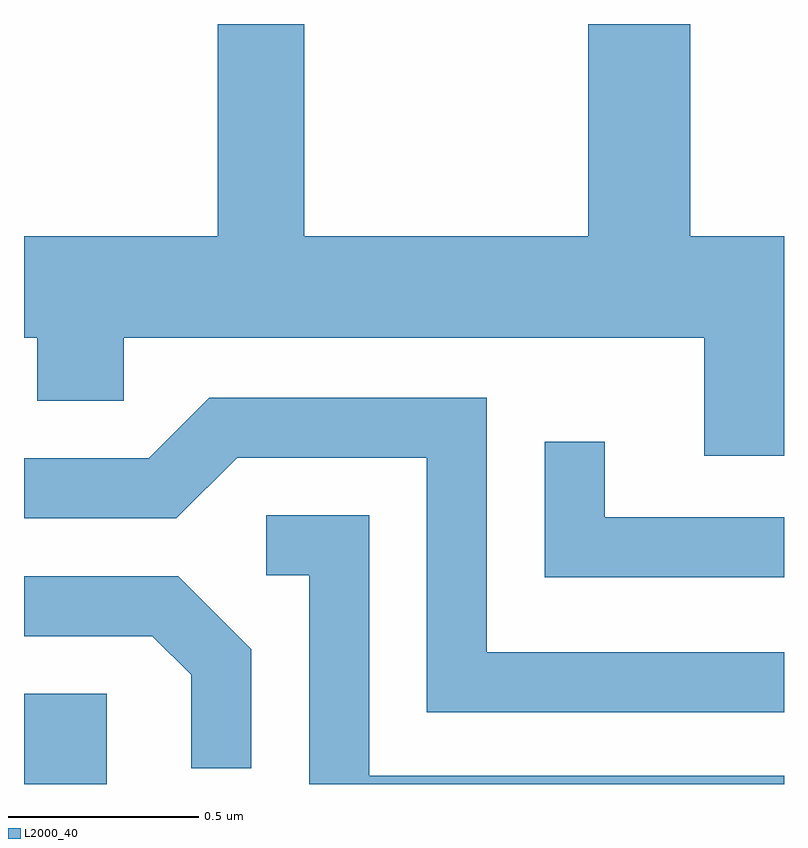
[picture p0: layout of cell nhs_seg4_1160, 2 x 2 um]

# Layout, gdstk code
import gdstk
lib = gdstk.Library(unit=1e-6, precision=1e-09)
def R(c, l, rs):  # rectangles x0, y0, x1, y1
    for r in rs: c.add(gdstk.rectangle(r[:2], r[2:], *l))
def P(c, l, *ps):  # polygons
    for p in ps: c.add(gdstk.Polygon(p, *l))
L2000_40 = (2000, 40)

nhs_seg4_1160 = lib.new_cell('nhs_seg4_1160')
R(nhs_seg4_1160, L2000_40, [(193.611,1317.982,193.829,1318.219)])
P(nhs_seg4_1160, L2000_40, [(195.611,1319.424),(195.364,1319.424),(195.364,1319.982),(195.096,1319.982),(195.096,1319.424),(194.349,1319.424),(194.349,1319.982),(194.121,1319.982),(194.121,1319.424),(193.611,1319.424),(193.611,1319.156),(193.646,1319.156),(193.646,1318.991),(193.874,1318.991),(193.874,1319.156),(195.401,1319.156),(195.401,1318.846),(195.611,1318.846)],
  [(195.611,1318.329),(194.829,1318.329),(194.829,1318.999),(194.099,1318.999),(193.939,1318.839),(193.611,1318.839),(193.611,1318.681),(194.012,1318.681),(194.172,1318.841),(194.671,1318.841),(194.671,1318.171),(195.611,1318.171)],
  [(195.611,1318.684),(195.139,1318.684),(195.139,1318.883),(194.981,1318.883),(194.981,1318.526),(195.611,1318.526)],
  [(195.611,1318.004),(194.519,1318.004),(194.519,1318.689),(194.248,1318.689),(194.248,1318.531),(194.361,1318.531),(194.361,1317.982),(195.611,1317.982)],
  [(194.209,1318.337),(194.017,1318.529),(193.611,1318.529),(193.611,1318.371),(193.949,1318.371),(194.051,1318.269),(194.051,1318.023),(194.209,1318.023)])

lib.write_gds('nhs_seg4_1160.gds')
